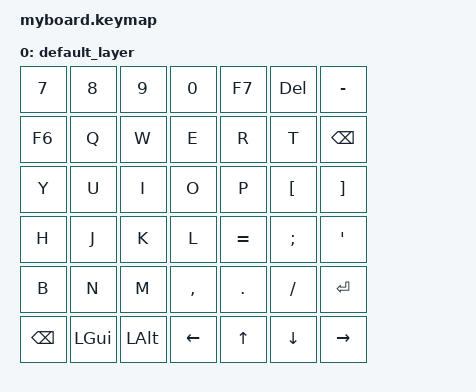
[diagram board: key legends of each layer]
#include <behaviors.dtsi> // 基本的なビヘイビアをインクルード
#include <dt-bindings/zmk/keys.h> // キーコード定義をインクルード
#include <dt-bindings/zmk/bt.h>   // Bluetooth コマンドをインクルード

/ {
    keymap {
        compatible = "zmk,keymap";

        default_layer { // 基本レイヤー
            bindings = <
            // ここにキーマップを記述します。
            // 画像3のレイアウトに合わせて、行ごとに入力します。
            // &kp は通常のキーストロークです。例: &kp A は 'A' キー
            // &trans は透明なキーで、下のレイヤーのキーを有効にします。
            // NC (No Connection) または &none は何も割り当てないキーです。

            // Row 0 (最上段)
            &kp N7  &kp N8  &kp N9    &kp N0    &kp F7    &kp DEL   &kp MINUS
            // Row 1
            &kp F6  &kp Q   &kp W     &kp E     &kp R     &kp T     &kp BACKSPACE
            // Row 2
            &kp Y   &kp U   &kp I     &kp O     &kp P     &kp LBKT  &kp RBKT  // LBKT=[, RBKT=]
            // Row 3
            &kp H   &kp J   &kp K     &kp L     &kp EQUAL &kp SEMI  &kp SQT   // EQUAL= =, SEMI=;, SQT='
            // Row 4
            &kp B   &kp N   &kp M     &kp COMMA &kp DOT   &kp SLASH &kp ENTER
            // Row 5 (最下段)
            &kp BSPC &kp LGUI &kp LALT &kp LEFT  &kp UP    &kp DOWN  &kp RIGHT
            // 画像3の配置だと、Row5の最初の2つがBACKSPACEとENTERに見えますが、
            // 物理的な配線が6行7列なので、画像3のキーの数を合わせる必要があります。
            // 画像3の最下段は7キーありますが、5行目と6行目にまたがっているように見えます。
            // 提供されたマトリックスは6行7列なので、それに合わせる必要があります。
            // ここでは画像3の下から2段目までを5行で表現し、最下段は適宜調整しました。
            // もしレイアウトが正確に6x7に収まるなら、それに合わせてください。
            // 例として、画像3の最下段左のBACKSPACEとENTERは、
            // 実際の6x7マトリックスのどこに配置されているか確認が必要です。
            // 仮に左下隅から並んでいるとして、以下のようにも考えられます。
            // &kp LGUI &kp LALT &kp LCTRL &kp LEFT  &kp UP    &kp DOWN  &kp RIGHT (もしこれが6行目なら)
            >;
        };

        // 必要であれば、他のレイヤー (例: Fnキーを押したときの動作) も定義できます
        // fn_layer {
        //     bindings = <
        //     &trans  &trans  &trans  &trans  &trans  &trans  &trans
        //     ...
        //     >;
        // };
    };

    // Bluetooth設定 (オプション、通常はデフォルトで有効)
    // behaviors {
    //     // Bluetooth クリアコマンドなど、必要に応じてビヘイビアを定義
    // };
};
